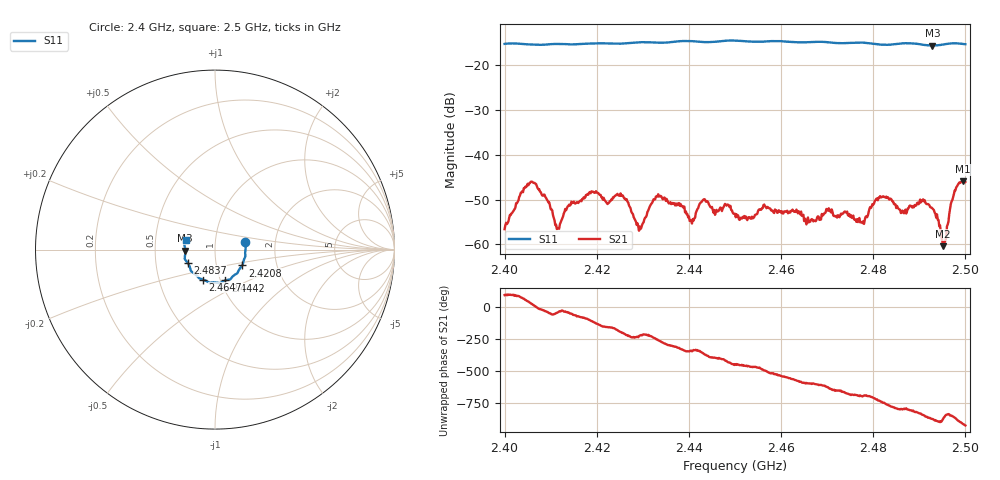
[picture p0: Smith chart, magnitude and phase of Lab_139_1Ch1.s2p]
# Hz S RI R 50
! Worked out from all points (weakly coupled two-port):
!   601 points, 2.4 GHz to 2.5 GHz, reference 50 ohm
!   highest |S21| = -45.87 dB at 2.4995 GHz (marker M1); lowest = -60.4 dB at 2.4952 GHz (marker M2)
!   lowest |S11| = -15.6 dB at 2.4928 GHz (marker M3), VSWR 1.40, Z = 35.8 - j0.394 ohm
!   |S11| at or under -10 dB: start of sweep to end of sweep
!   S12 and S22 are empty: the file has one direction only
!   S11 on the Smith chart (normalised r, x): 2.4 GHz: 1.40, +0.12; 2.4208 GHz: 1.33, -0.24; 2.4442 GHz: 1.05, -0.37; 2.4647 GHz: 0.83, -0.29; 2.4837 GHz: 0.73, -0.11; 2.5 GHz: 0.72, +0.08
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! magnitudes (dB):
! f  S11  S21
! 2.4 GHz  -15.2  -56.6
! 2.4055 GHz  -15.4  -46.3
! 2.4115 GHz  -15.3  -56.3
! 2.4167 GHz  -15.3  -50.4
! 2.4208 GHz  -15.1  -48.9
! 2.4257 GHz  -15.2  -49.1
! 2.4295 GHz  -14.9  -56.6
! 2.4333 GHz  -15.0  -48.8
! 2.4407 GHz  -14.6  -55.3
! 2.4442 GHz  -14.9  -50.6
! 2.45 GHz  -14.5  -53.1
! 2.4647 GHz  -14.9  -53.5
! 2.4667 GHz  -14.8  -54.3
! 2.4703 GHz  -14.9  -51.9
! 2.4777 GHz  -14.9  -55.2
! 2.4833 GHz  -15.4  -49.8
! 2.4837 GHz  -15.4  -49.8
! 2.4928 GHz  -15.6  -51.9
! 2.4952 GHz  -15.4  -60.4
! 2.4975 GHz  -15.1  -48.8
! 2.4995 GHz  -15.3  -45.9
! 2.5 GHz  -15.3  -46.1
